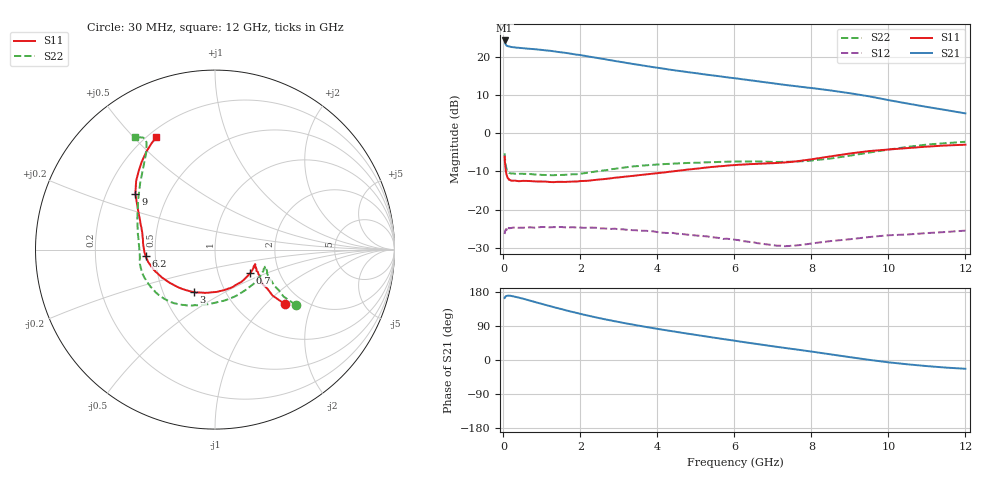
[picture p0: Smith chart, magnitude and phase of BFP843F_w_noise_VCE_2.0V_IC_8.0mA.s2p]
! Infineon Technologies  Discrete & RF Semiconductors
! BFP843F
! VCE =  2.0 V,  IC =  8.0 mA
! Common Emitter S-Parameters:  Aug 2013
# GHz  S  MA  R  50
!  f  S11  S21  S12  S22
! GHz  MAG  ANG  MAG  ANG  MAG  ANG  MAG  ANG
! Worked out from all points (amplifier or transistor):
!   103 points, 30 MHz to 12 GHz, reference 50 ohm
!   highest |S21| = 24.3 dB at 30 MHz (marker M1)
!   |S21| within 3 dB of that: start of sweep to 1.414 GHz
!   unconditionally stable (mu >= 1): 185.5 MHz to 874.3 MHz; 2.566 GHz to end of sweep
!   at 400 MHz: K = 1.01, MAG = 23.0 dB, |S12| = -24.8 dB
!   at 3.7 GHz: K = 1.08, MAG = 19.8 dB, |S12| = -25.6 dB
!   at 12 GHz: K = 1.34, MAG = 11.9 dB, |S12| = -25.5 dB
!   lowest NFmin = 0.80 dB at 450 MHz
!   S11 on the Smith chart (normalised r, x): 30 MHz: 1.62, -1.30; 700 MHz: 1.42, -0.40; 3 GHz: 0.71, -0.36; 6.2 GHz: 0.44, -0.04; 9 GHz: 0.32, +0.28; 12 GHz: 0.23, +0.58
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0.03  0.493 -38.0  16.39 163.7  0.0478 31.2  0.5456 -34.4
0.04  0.4094 -38.6  15.43 164.6  0.0507 24.6  0.463 -34.4
0.05  0.3659 -36.8  14.78 167.2  0.0534 23.2  0.421 -32.5
0.06  0.3235 -35.9  14.52 168.1  0.0543 15.3  0.3859 -31.3
0.1  0.2679 -27.2  13.84 169.5  0.0568 11.9  0.3175 -24.2
0.13  0.2534 -24.7  13.71 170.0  0.0564 8.0  0.307 -21.1
0.3  0.2394 -20.4  13.27 167.0  0.058 5.0  0.2934 -19.1
0.7  0.2357 -34.2  12.72 156.4  0.0584 0.2  0.2913 -32.7
1.3  0.2283 -59.7  11.84 139.6  0.0588 -2.4  0.2815 -59.1
1.7  0.2312 -76.2  11.11 129.1  0.0584 -4.4  0.2865 -76.3
2.1  0.2369 -91.0  10.34 119.3  0.0575 -6.7  0.2989 -92.1
2.5  0.2477 -103.3  9.539 110.3  0.0566 -8.2  0.3199 -104.7
3  0.2637 -116.1  8.651 100.2  0.0548 -10.7  0.3481 -116.7
4.1  0.3033 -139.6  7.075 80.5  0.0498 -13.4  0.391 -134.7
5  0.3425 -155.8  6.11 66.2  0.0457 -13.5  0.4101 -147.1
6.1  0.3856 -173.0  5.177 49.4  0.0398 -12.4  0.4253 -162.2
6.2  0.3874 -174.5  5.086 47.9  0.0386 -11.6  0.4258 -163.7
7  0.4043 172.8  4.509 36.2  0.0341 -4.3  0.4206 -174.8
8.5  0.497 150.6  3.628 14.9  0.0386 13.5  0.4659 158.3
9  0.5416 145.0  3.337 7.5  0.0408 15.3  0.507 147.8
10.5  0.638 129.7  2.443 -11.4  0.0471 18.7  0.6616 125.4
12  0.7062 117.6  1.817 -23.1  0.0529 22.4  0.7715 125.5
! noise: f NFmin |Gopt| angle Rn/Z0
0.45  0.8  0.07  14  0.04
0.9  0.8  0.07  26  0.04
1.5  0.84  0.07  41  0.05
1.9  0.9  0.08  59  0.05
2.4  0.94  0.08  75  0.05
3.5  1  0.1  108  0.11
5.5  1.11  0.16  173  0.16
10  1.71  0.37  -118  0.26
